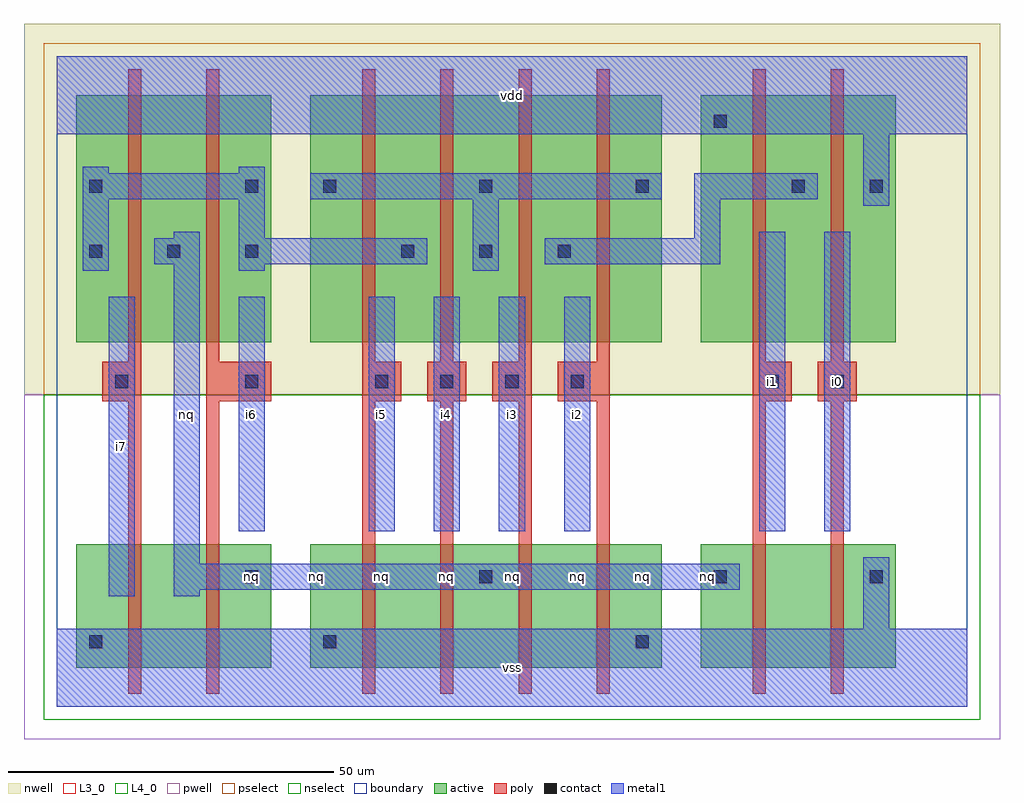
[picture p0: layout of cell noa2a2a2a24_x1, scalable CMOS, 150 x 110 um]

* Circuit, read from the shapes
.subckt noa2a2a2a24_x1 i0 i1 i2 i3 i4 i5 i6 i7 nq vdd vss
M1 n1 i7 vss VSUBS nfet w=19u l=2u
M2 nq i6 n1 VSUBS nfet w=19u l=2u
M3 n2 i5 vss VSUBS nfet w=19u l=2u
M4 nq i4 n2 VSUBS nfet w=19u l=2u
M5 n3 i3 nq VSUBS nfet w=19u l=2u
M6 vss i2 n3 VSUBS nfet w=19u l=2u
M7 n4 i1 nq VSUBS nfet w=19u l=2u
M8 vss i0 n4 VSUBS nfet w=19u l=2u
M9 nq i7 n5 n6 pfet w=38u l=2u
M10 n5 i6 nq n6 pfet w=38u l=2u
M11 n5 i5 n7 n6 pfet w=38u l=2u
M12 n7 i4 n5 n6 pfet w=38u l=2u
M13 n8 i3 n7 n6 pfet w=38u l=2u
M14 n7 i2 n8 n6 pfet w=38u l=2u
M15 n8 i1 vdd n6 pfet w=38u l=2u
M16 vdd i0 n8 n6 pfet w=38u l=2u
.ends

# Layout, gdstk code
import gdstk
lib = gdstk.Library(unit=1e-6, precision=1e-09)
def R(c, l, rs):  # rectangles x0, y0, x1, y1
    for r in rs: c.add(gdstk.rectangle(r[:2], r[2:], *l))
def A(c, l, x, y, w, h, nx, ny, dx, dy):  # array of equal rectangles
    R(c, l, [(x+i*dx, y+j*dy, x+i*dx+w, y+j*dy+h) for i in range(nx) for j in range(ny)])
L3_0 = (3, 0)
L4_0 = (4, 0)
contact = (25, 0)
pwell = (41, 0)
nwell = (42, 0)
active = (43, 0)
pselect = (44, 0)
nselect = (45, 0)
poly = (46, 0)
metal1 = (49, 0)
boundary = (63, 0)

noa2a2a2a24_x1 = lib.new_cell('noa2a2a2a24_x1')
R(noa2a2a2a24_x1, L3_0, [(3,6,33,25), (39,6,93,25), (99,6,129,25)])
R(noa2a2a2a24_x1, L4_0, [(3,56,33,94), (39,56,93,94), (99,56,129,94)])
A(noa2a2a2a24_x1, contact, 29, 19, 2, 2, 3, 1, 36, 0)
A(noa2a2a2a24_x1, contact, 9, 49, 2, 2, 3, 1, 20, 0)
A(noa2a2a2a24_x1, contact, 59, 49, 2, 2, 3, 1, 10, 0)
A(noa2a2a2a24_x1, contact, 5, 69, 2, 2, 3, 1, 12, 0)
A(noa2a2a2a24_x1, contact, 53, 69, 2, 2, 3, 1, 12, 0)
A(noa2a2a2a24_x1, contact, 41, 79, 2, 2, 4, 1, 24, 0)
R(noa2a2a2a24_x1, contact, [(5,9,7,11), (41,9,43,11), (89,9,91,11), (125,19,127,21), (109,49,111,51), (119,49,121,51), (5,79,7,81), (29,79,31,81), (125,79,127,81), (101,89,103,91)])
R(noa2a2a2a24_x1, pwell, [(-5,-5,145,48)])
R(noa2a2a2a24_x1, nwell, [(-5,48,145,105)])
R(noa2a2a2a24_x1, active, [(3,6,33,25), (39,6,93,25), (99,6,129,25), (3,56,33,94), (39,56,93,94), (99,56,129,94)])
R(noa2a2a2a24_x1, pselect, [(-2,48,142,102)])
R(noa2a2a2a24_x1, nselect, [(-2,-2,142,48)])
A(noa2a2a2a24_x1, poly, 47, 2, 2, 45, 4, 2, 12, 51)
A(noa2a2a2a24_x1, poly, 47, 47, 6, 6, 3, 1, 10, 0)
R(noa2a2a2a24_x1, poly, [(11,2,13,47), (23,2,25,47), (107,2,109,47), (119,2,121,47), (7,47,13,53), (23,47,33,53), (77,47,85,53), (107,47,113,53), (117,47,123,53), (11,53,13,98), (23,53,25,98), (107,53,109,98), (119,53,121,98)])
A(noa2a2a2a24_x1, metal1, 48, 27, 4, 36, 4, 1, 10, 0)
R(noa2a2a2a24_x1, metal1, [(0,0,140,12), (124,12,128,23), (8,17,12,63), (18,17,22,18), (18,18,105,22), (18,22,22,68), (28,27,32,63), (108,27,112,73), (118,27,122,73), (4,67,8,78), (28,67,32,68), (64,67,68,78), (15,68,22,72), (28,68,57,72), (75,68,102,72), (18,72,22,73), (28,72,32,78), (98,72,102,78), (124,77,128,88), (4,78,32,82), (39,78,93,82), (98,78,117,82), (4,82,8,83), (28,82,32,83), (0,88,140,100)])
R(noa2a2a2a24_x1, boundary, [(0,0,140,100)])
noa2a2a2a24_x1.add(gdstk.Label('nq', (30,20), layer=49, texttype=0))
noa2a2a2a24_x1.add(gdstk.Label('i6', (30,45), layer=49, texttype=0))
noa2a2a2a24_x1.add(gdstk.Label('i7', (10,40), layer=49, texttype=0))
noa2a2a2a24_x1.add(gdstk.Label('nq', (20,45), layer=49, texttype=0))
noa2a2a2a24_x1.add(gdstk.Label('nq', (60,20), layer=49, texttype=0))
noa2a2a2a24_x1.add(gdstk.Label('nq', (50,20), layer=49, texttype=0))
noa2a2a2a24_x1.add(gdstk.Label('nq', (40,20), layer=49, texttype=0))
noa2a2a2a24_x1.add(gdstk.Label('i4', (60,45), layer=49, texttype=0))
noa2a2a2a24_x1.add(gdstk.Label('i5', (50,45), layer=49, texttype=0))
noa2a2a2a24_x1.add(gdstk.Label('nq', (70,20), layer=49, texttype=0))
noa2a2a2a24_x1.add(gdstk.Label('vss', (70,6), layer=49, texttype=0))
noa2a2a2a24_x1.add(gdstk.Label('nq', (100,20), layer=49, texttype=0))
noa2a2a2a24_x1.add(gdstk.Label('nq', (90,20), layer=49, texttype=0))
noa2a2a2a24_x1.add(gdstk.Label('nq', (80,20), layer=49, texttype=0))
noa2a2a2a24_x1.add(gdstk.Label('i3', (70,45), layer=49, texttype=0))
noa2a2a2a24_x1.add(gdstk.Label('i2', (80,45), layer=49, texttype=0))
noa2a2a2a24_x1.add(gdstk.Label('vdd', (70,94), layer=49, texttype=0))
noa2a2a2a24_x1.add(gdstk.Label('i0', (120,50), layer=49, texttype=0))
noa2a2a2a24_x1.add(gdstk.Label('i1', (110,50), layer=49, texttype=0))

lib.write_gds('noa2a2a2a24_x1.gds')
